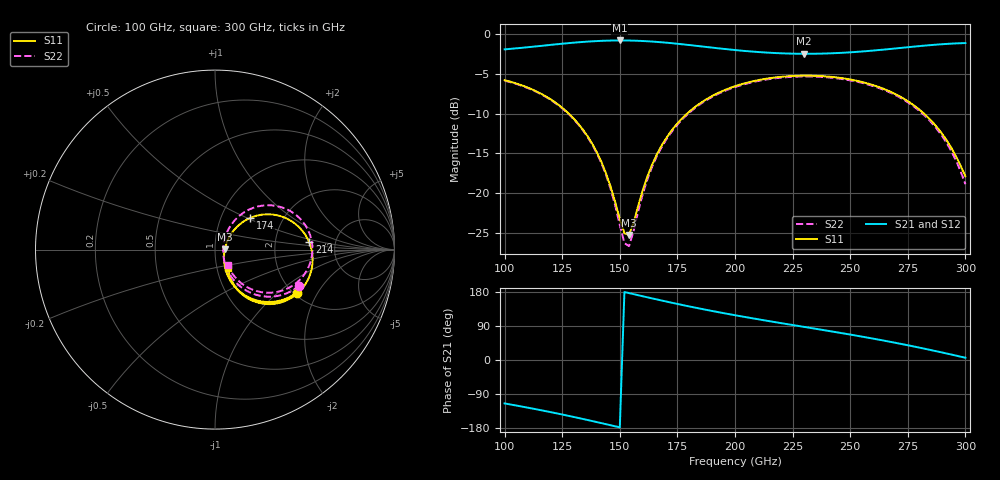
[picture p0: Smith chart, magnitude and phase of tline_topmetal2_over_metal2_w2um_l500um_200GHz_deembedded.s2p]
! Created with skrf 2.0.1 (http://scikit-rf.org).
# GHz S DB R 50.0
!freq dBS11 angS11 dBS21 angS21 dBS12 angS12 dBS22 angS22
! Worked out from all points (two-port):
!   101 points, 100 GHz to 300 GHz, reference 50 ohm
!   highest |S21| = -0.77 dB at 150 GHz (marker M1); lowest = -2.4 dB at 230 GHz (marker M2)
!   |S21| within 3 dB of the highest: start of sweep to end of sweep
!   lowest |S11| = -25.3 dB at 154 GHz (marker M3), VSWR 1.12, Z = 55.8 + j0.12 ohm
!   |S11| at or under -10 dB: 127.9 GHz to 179.2 GHz (51.28 GHz wide, 33.4 % of centre); 282.1 GHz to end of sweep
!   |S22| runs from -26.7 to -5.3 dB; largest |S21 - S12| = 1.5e-13
!   S11 on the Smith chart (normalised r, x): 100 GHz: 2.07, -1.35; 174 GHz: 1.37, +0.52; 214 GHz: 3.18, +0.35; 300 GHz: 1.13, -0.24
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100  -5.78 -27.9  -1.89 -114.6  -1.89 -114.6  -5.84 -23.2
120  -8.19 -48.0  -1.33 -137.6  -1.33 -137.6  -8.26 -42.6
134  -12.01 -60.9  -0.96 -155.6  -0.96 -155.6  -12.09 -55.6
140  -14.84 -64.0  -0.85 -163.8  -0.85 -163.8  -14.96 -59.0
144  -17.50 -62.8  -0.80 -169.4  -0.80 -169.4  -17.70 -58.6
150  -23.28 -43.4  -0.77 -177.8  -0.77 -177.8  -24.03 -40.7
152  -25.06 -24.2  -0.77 179.4  -0.77 179.4  -26.30 -20.1
154  -25.27 1.1  -0.78 176.6  -0.78 176.6  -26.69 9.7
162  -17.89 44.4  -0.87 165.4  -0.87 165.4  -18.24 55.7
168  -14.09 45.6  -1.00 157.2  -1.00 157.2  -14.29 56.2
174  -11.57 42.0  -1.16 149.2  -1.16 149.2  -11.72 52.4
186  -8.47 31.1  -1.54 134.2  -1.54 134.2  -8.59 41.5
200  -6.54 17.5  -1.98 118.2  -1.98 118.2  -6.65 28.2
214  -5.57 4.4  -2.30 103.4  -2.30 103.4  -5.67 15.4
230  -5.21 -10.1  -2.45 87.4  -2.45 87.4  -5.31 1.2
234  -5.22 -13.7  -2.44 83.4  -2.44 83.4  -5.32 -2.3
250  -5.69 -28.1  -2.27 67.1  -2.27 67.1  -5.80 -16.5
268  -7.30 -44.7  -1.83 47.3  -1.83 47.3  -7.43 -33.4
278  -9.02 -53.7  -1.54 35.2  -1.54 35.2  -9.18 -42.9
288  -11.81 -60.6  -1.28 22.3  -1.28 22.3  -12.06 -51.3
294  -14.35 -61.7  -1.17 14.2  -1.17 14.2  -14.77 -54.1
300  -17.89 -55.2  -1.10 6.0  -1.10 6.0  -18.89 -50.7
